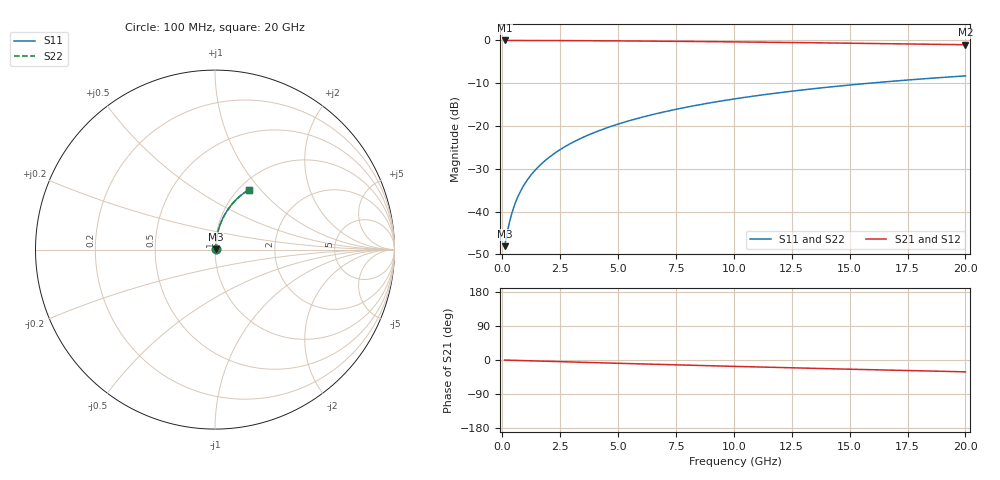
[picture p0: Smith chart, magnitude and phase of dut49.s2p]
! Touchstone file exported from HFSS 2024.1.0
!  File:  C:/UserFiles/LocalFiles/RDL_TSV_Batchsim/temp_RDL_bottom_49_1778692933.aedt
!  Generated:  01:24:50 AM May 14, 2026
!  Design:  RDL_bottom
!  Project:  temp_RDL_bottom_49_1778692933
!  Setup:  Setup1
!  Solution:  Sweep
! Variables:
!  dtsv = 10.80580581um
!  hbump = 3um
!  htsv = 60.55um
!  ldown = 380.75um
!  lrdl = 100um
!  p = 40
!  p1 = 45.45um
!  rhole = 1um
!  t = 450um
!  tdown = 4um
!  trdl = 3.915915916um
!  wdown = 10.48um
!  wrdl = 20um
# GHz S MA R 50.000000
! Terminal data exported
! Port[1] = RDL1_T1
! Port[2] = RDL1_T2
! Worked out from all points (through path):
!   200 points, 100 MHz to 20 GHz, reference 50 ohm
!   highest |S21| = -0.03 dB at 100 MHz (marker M1); lowest = -1.0 dB at 20 GHz (marker M2)
!   group delay of S21, straight-line fit = 4.33 ps
!   lowest |S11| = -48.1 dB at 100 MHz (marker M3), VSWR 1.01, Z = 50.3 + j0.219 ohm
!   |S11| at or under -10 dB: start of sweep to 15.89 GHz
!   |S22| runs from -48.1 to -8.3 dB; largest |S21 - S12| = 3.4e-15
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0.1  0.00394 33.4  0.9967 -0.2  0.9967 -0.2  0.00394 33.4
! Gamma 0 0 0 0
! Port Impedance 50 0 50 0
0.2  0.005466 52.5  0.9967 -0.4  0.9967 -0.4  0.005466 52.5
0.3  0.007324 62.5  0.9966 -0.5  0.9966 -0.5  0.007324 62.5
0.4  0.009307 68.2  0.9965 -0.7  0.9965 -0.7  0.009307 68.1
0.5  0.01134 71.7  0.9964 -0.9  0.9964 -0.9  0.01134 71.7
0.6  0.0134 74.2  0.9963 -1.1  0.9963 -1.1  0.0134 74.2
0.8  0.01754 77.2  0.9961 -1.4  0.9961 -1.4  0.01754 77.2
1.1  0.02378 79.6  0.9958 -2.0  0.9958 -2.0  0.02378 79.6
1.5  0.03211 81.2  0.9953 -2.7  0.9953 -2.7  0.03211 81.2
1.8  0.03837 81.8  0.9948 -3.2  0.9948 -3.2  0.03837 81.8
2.1  0.04463 82.1  0.9943 -3.7  0.9943 -3.7  0.04463 82.1
2.7  0.05716 82.2  0.993 -4.8  0.993 -4.8  0.05716 82.2
3.5  0.07387 81.9  0.9908 -6.1  0.9908 -6.1  0.07387 81.9
4.2  0.08845 81.3  0.9885 -7.3  0.9885 -7.3  0.08845 81.3
5  0.1051 80.5  0.9854 -8.7  0.9854 -8.7  0.1051 80.5
5.9  0.1237 79.5  0.9816 -10.2  0.9816 -10.2  0.1237 79.5
6.8  0.1421 78.4  0.9773 -11.7  0.9773 -11.7  0.1421 78.4
8.3  0.1726 76.4  0.9694 -14.1  0.9694 -14.1  0.1726 76.4
10.1  0.2084 73.9  0.9588 -17.0  0.9588 -17.0  0.2084 74.0
13.4  0.2714 69.4  0.9373 -22.0  0.9373 -22.0  0.2714 69.4
16.7  0.3303 64.8  0.9136 -26.7  0.9136 -26.7  0.3303 64.8
20  0.3844 60.4  0.8885 -31.2  0.8885 -31.2  0.3844 60.4
